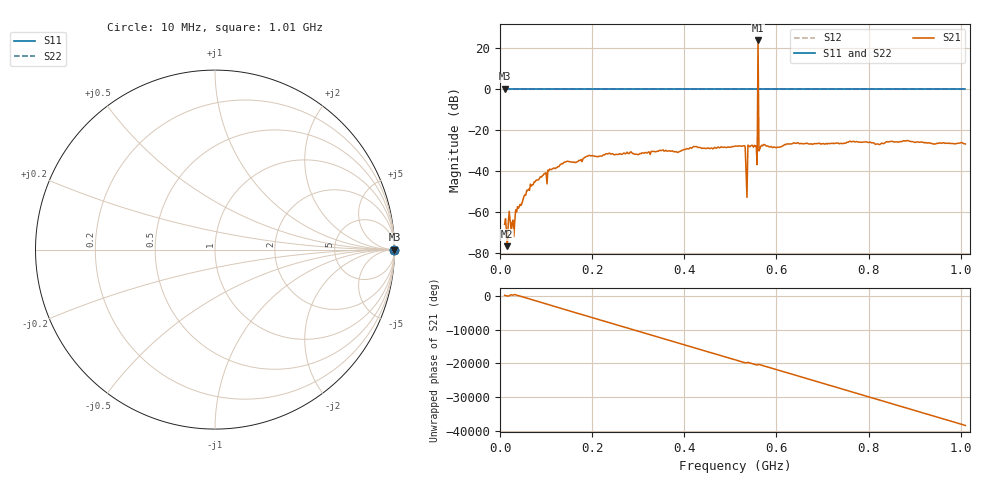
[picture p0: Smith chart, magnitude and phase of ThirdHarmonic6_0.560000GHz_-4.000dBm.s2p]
! 8/15/2025 5:50:24 PM
! C:\ANRITSUVNA\TEMP\TEMP.S2P
! CHANNEL.1
! TR.MEASUREMENT
! RAW.DATA
! RF.CORRECTION.OFF
! AVERAGING.OFF
! IF.BANDWIDTH: 5KHZ
! SWEEPTYPE:  FREQ.SWEEP(Linear)
! Reference Plane Port Info
! PORT:  PORT1  PORT2
! DISTANCE:  0  m  0  m
! TIME:  0  s  0  s
! PHASE.OFFSET:  0  deg.  0  deg.
! LOSS:  0  dB  0  dB
! REF.LOSS:  0  dB  0  dB
! REF.FREQ:  0  Hz  0  Hz
! Power Info
! POWER:  -20  dBm  -20  dBm
! EFF.POWER:  -20  dBm  -20  dBm
! SOURCE.ATTEN:  0  dB  0  dB
! TEST.ATTEN:  0  dB  0  dB
# GHZ S RI R 50.0
! FREQ.GHZ  S11RE  S11IM  S21RE  S21IM  S12RE  S12IM  S22RE  S22IM
!; PortSelection: Port_12
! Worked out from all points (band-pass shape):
!   501 points, 10 MHz to 1.01 GHz, reference 50 ohm
!   highest |S21| = 23.58 dB at 560 MHz (marker M1); lowest = -76.8 dB at 16 MHz (marker M2)
!   |S21| within 3 dB of the highest: 559.9009 MHz to 560.1113 MHz (210.4 kHz wide, 0.0376 % of centre)
!   lowest |S11| = 0.0 dB at 10 MHz (marker M3)
!   |S11| at or under -10 dB: nowhere
!   |S22| runs from 0.0 to 0.0 dB; largest |S21 - S12| = 16
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0.01  1 0  -0.000452 0.000205  1 0  1 0
0.016  1 0  0.00011 -9.52e-05  1 0  1 0
0.024  1 0  0.000162 -0.00034  1 0  1 0
0.028  1 0  -0.000615 0.000124  1 0  1 0
0.038  1 0  -0.000973 0.000913  1 0  1 0
0.078  1 0  0.00139 -0.00565  1 0  1 0
0.142  1 0  -0.0155 -0.00545  1 0  1 0
0.178  1 0  -0.0161 -0.00462  1 0  1 0
0.344  1 0  0.0285 -0.00903  1 0  1 0
0.51  1 0  -0.0349 0.019  1 0  1 0
0.528  1 0  -0.0339 0.0223  1 0  1 0
0.532  1 0  0.0381 -0.0099  1 0  1 0
0.538  1 0  -0.0115 0.0408  1 0  1 0
0.542  1 0  0.0208 -0.0325  1 0  1 0
0.554  1 0  -0.0398 -0.00378  1 0  1 0
0.556  1 0  -0.00924 0.0401  1 0  1 0
0.56  1 0  -14.79 -3.032  1 0  1 0
0.564  1 0  -0.0271 0.0212  1 0  1 0
0.566  1 0  0.0171 0.0358  1 0  1 0
0.678  1 0  -0.0256 -0.0357  1 0  1 0
0.844  1 0  0.0414 0.0302  1 0  1 0
1.01  1 0  -0.0447 -0.00548  1 0  1 0
